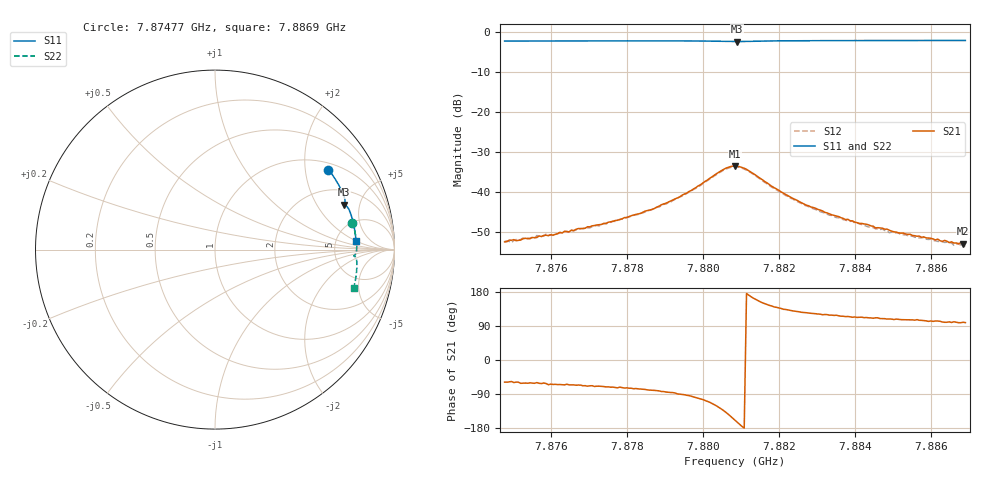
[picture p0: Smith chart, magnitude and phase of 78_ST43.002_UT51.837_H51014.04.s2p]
#  HZ  S  DB  R  50.00
! Rohde & Schwarz Vector Network Analyzer
! Rohde-Schwarz,ZNB20-2Port,1311601062101988,3.16
! Created: UTC 1/12/2023, 6:34:59 PM
! freq[Hz]  db:S11  ang:S11  db:S21  ang:S21  db:S12  ang:S12  db:S22  ang:S22
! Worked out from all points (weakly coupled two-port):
!   201 points, 7.87477 GHz to 7.8869 GHz, reference 50 ohm
!   highest |S21| = -33.57 dB at 7.88084 GHz (marker M1); lowest = -53.1 dB at 7.88684 GHz (marker M2)
!   lowest |S11| = -2.4 dB at 7.8809 GHz (marker M3), VSWR 7.43, Z = 149 + j178 ohm
!   |S11| at or under -10 dB: nowhere
!   |S22| runs from -2.2 to -1.9 dB; largest |S21 - S12| = 0.0013
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7.874773e9  -2.23 35.2  -52.60 -58.4  -52.51 -61.1  -2.15 11.1
7.874955e9  -2.23 34.7  -52.18 -56.8  -52.77 -63.5  -2.14 10.7
7.875258e9  -2.22 33.8  -51.81 -61.1  -51.63 -63.0  -2.13 9.9
7.875562e9  -2.22 33.0  -51.54 -61.5  -51.67 -66.0  -2.13 9.2
7.875622e9  -2.21 32.9  -51.51 -59.6  -51.00 -64.8  -2.12 9.1
7.875865e9  -2.21 32.2  -50.92 -62.1  -50.65 -66.4  -2.12 8.5
7.876047e9  -2.21 31.7  -50.91 -64.5  -50.97 -68.0  -2.10 8.1
7.876835e9  -2.20 29.5  -49.20 -67.9  -49.30 -70.9  -2.09 6.3
7.877745e9  -2.18 27.0  -47.18 -73.5  -47.06 -75.5  -2.07 4.1
7.878837e9  -2.18 24.0  -43.65 -81.5  -43.84 -84.5  -2.05 1.5
7.879565e9  -2.20 21.9  -40.38 -93.1  -40.46 -96.1  -2.06 -0.2
7.880535e9  -2.31 19.4  -34.45 -133.2  -34.61 -136.7  -2.19 -2.4
7.880839e9  -2.35 19.1  -33.57 -159.1  -33.77 -162.4  -2.23 -2.5
7.880899e9  -2.35 19.1  -33.63 -164.5  -33.79 -167.9  -2.22 -2.5
7.881142e9  -2.31 18.9  -34.39 175.4  -34.60 171.8  -2.19 -2.6
7.882294e9  -2.15 15.9  -41.37 130.9  -41.62 127.5  -2.02 -5.1
7.882901e9  -2.13 14.2  -43.98 122.7  -44.28 119.7  -1.98 -6.5
7.88375e9  -2.11 11.9  -46.99 114.5  -47.14 112.3  -1.96 -8.5
7.88472e9  -2.10 9.3  -49.16 109.2  -49.40 105.7  -1.95 -10.6
7.884902e9  -2.10 8.8  -49.68 108.3  -50.31 104.6  -1.94 -11.0
7.886843e9  -2.08 3.8  -53.08 99.6  -53.58 97.3  -1.93 -15.2
7.886904e9  -2.08 3.6  -52.96 98.7  -53.67 96.8  -1.92 -15.4
